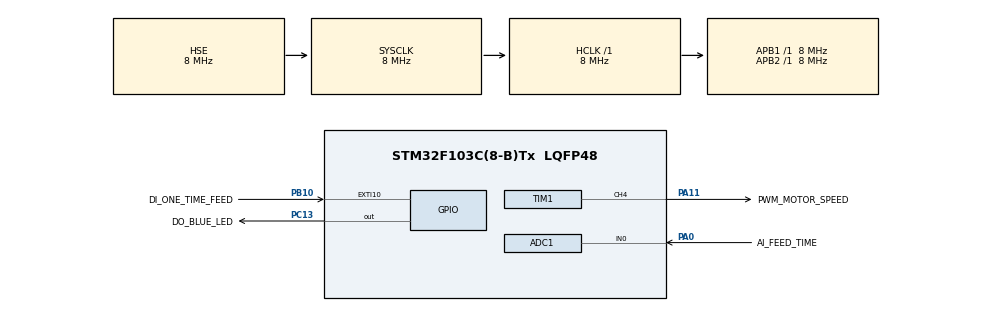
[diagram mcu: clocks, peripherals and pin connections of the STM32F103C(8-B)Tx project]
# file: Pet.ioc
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ADC1.Channel-0\#ChannelRegularConversion=ADC_CHANNEL_0
ADC1.ContinuousConvMode=ENABLE
ADC1.NbrOfConversionFlag=1
ADC1.Rank-0\#ChannelRegularConversion=1
ADC1.SamplingTime-0\#ChannelRegularConversion=ADC_SAMPLETIME_239CYCLES_5
ADC1.master=1
Dma.ADC1.0.Direction=DMA_PERIPH_TO_MEMORY
Dma.ADC1.0.Instance=DMA1_Channel1
Dma.ADC1.0.MemDataAlignment=DMA_MDATAALIGN_HALFWORD
Dma.ADC1.0.MemInc=DMA_MINC_ENABLE
Dma.ADC1.0.Mode=DMA_CIRCULAR
Dma.ADC1.0.PeriphDataAlignment=DMA_PDATAALIGN_HALFWORD
Dma.ADC1.0.PeriphInc=DMA_PINC_DISABLE
Dma.ADC1.0.Priority=DMA_PRIORITY_HIGH
Dma.Request0=ADC1
Mcu.Family=STM32F1
Mcu.Name=STM32F103C(8-B)Tx
Mcu.Package=LQFP48
NVIC.DMA1_Channel1_IRQn=true\:0\:0\:false\:false\:true\:false\:true\:true
NVIC.EXTI15_10_IRQn=true\:0\:0\:false\:false\:true\:true\:true\:true
NVIC.PriorityGroup=NVIC_PRIORITYGROUP_4
PA0-WKUP.GPIO_Label=AI_FEED_TIME
PA0-WKUP.Signal=ADCx_IN0
PA11.GPIO_Label=PWM_MOTOR_SPEED
PA11.Signal=S_TIM1_CH4
PB10.GPIO_Label=DI_ONE_TIME_FEED
PB10.GPIO_ModeDefaultEXTI=GPIO_MODE_IT_RISING
PB10.GPIO_PuPd=GPIO_PULLDOWN
PB10.Signal=GPXTI10
PC13-TAMPER-RTC.GPIO_Label=DO_BLUE_LED
PC13-TAMPER-RTC.Signal=GPIO_Output
PC14-OSC32_IN.GPIO_Label=LSE_IN
PC14-OSC32_IN.Mode=LSE-External-Clock-Source
PC14-OSC32_IN.Signal=RCC_OSC32_IN
PC15-OSC32_OUT.GPIO_Label=LSE_OUT
PC15-OSC32_OUT.Mode=LSE-External-Clock-Source
PC15-OSC32_OUT.Signal=RCC_OSC32_OUT
PD0-OSC_IN.GPIO_Label=HSE_IN
PD0-OSC_IN.Mode=HSE-External-Clock-Source
PD0-OSC_IN.Signal=RCC_OSC_IN
PD1-OSC_OUT.GPIO_Label=HSE_OUT
PD1-OSC_OUT.Mode=HSE-External-Clock-Source
PD1-OSC_OUT.Signal=RCC_OSC_OUT
ProjectManager.HeapSize=0x200
ProjectManager.StackSize=0x400
ProjectManager.TargetToolchain=STM32CubeIDE
RCC.AHBFreq_Value=8000000
RCC.APB1Freq_Value=8000000
RCC.APB1TimFreq_Value=8000000
RCC.APB2Freq_Value=8000000
RCC.APB2TimFreq_Value=8000000
RCC.HCLKFreq_Value=8000000
RCC.PLLSourceVirtual=RCC_PLLSOURCE_HSE
RCC.RTCClockSelection=RCC_RTCCLKSOURCE_LSE
RCC.SYSCLKFreq_VALUE=8000000
RCC.SYSCLKSource=RCC_SYSCLKSOURCE_HSE
RCC.USBFreq_Value=16000000
SH.ADCx_IN0.0=ADC1_IN0,IN0
SH.S_TIM1_CH4.0=TIM1_CH4,PWM Generation4 CH4
TIM1.Channel-PWM\ Generation4\ CH4=TIM_CHANNEL_4
TIM1.Period=1000
TIM1.Prescaler=7
TIM1.Pulse-PWM\ Generation4\ CH4=0
VP_RTC_VS_RTC_Activate.Mode=RTC_Enabled
VP_RTC_VS_RTC_Calendar.Mode=RTC_Calendar
VP_SYS_VS_ND.Mode=No_Debug
board=custom

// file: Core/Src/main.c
/* USER CODE BEGIN Header */
/**
  ******************************************************************************
  * @file           : main.c
  * @brief          : Main program body
  ******************************************************************************
  * @attention
  *
  * Copyright (c) 2026 STMicroelectronics.
  * All rights reserved.
  *
  * This software is licensed under terms that can be found in the LICENSE file
  * in the root directory of this software component.
  * If no LICENSE file comes with this software, it is provided AS-IS.
  *
  ******************************************************************************
  */
/* USER CODE END Header */
#include "main.h"

ADC_HandleTypeDef hadc1;
DMA_HandleTypeDef hdma_adc1;

RTC_HandleTypeDef hrtc;

TIM_HandleTypeDef htim1;

void SystemClock_Config(void);
static void MX_GPIO_Init(void);
static void MX_DMA_Init(void);
static void MX_TIM1_Init(void);
static void MX_RTC_Init(void);
static void MX_ADC1_Init(void);

/* USER CODE BEGIN 0 */

#define MAX_TURN_ON_TIME 20000L
#define MIN_TURN_ON_TIME 1000L
#define MAX_ADC_VALUE 4095
#define MIN_ADC_VALUE 0

volatile uint8_t buttonInputFlag;
volatile uint32_t adcValue = 0;

uint32_t Convert_Adc_To_Time(uint32_t adcValue)
{
	if(adcValue > MAX_ADC_VALUE)
		adcValue = MAX_ADC_VALUE;
	if(adcValue < MIN_ADC_VALUE)
		adcValue = MIN_ADC_VALUE;

	return adcValue * MAX_TURN_ON_TIME / MAX_ADC_VALUE;
}

void Set_PWM_Duty(TIM_HandleTypeDef *htim, uint32_t channel, float duty_percent)
{
    uint32_t arr = __HAL_TIM_GET_AUTORELOAD(htim);
    uint32_t ccr = (uint32_t)((arr + 1) * duty_percent / 100.0f);

    if (ccr > arr) ccr = arr;
    __HAL_TIM_SET_COMPARE(htim, channel, ccr);
}

void HAL_GPIO_EXTI_Callback(uint16_t GPIO_Pin)
{
    if (GPIO_Pin == DI_ONE_TIME_FEED_Pin)
    {
    	buttonInputFlag = 1;
    }
}

void Start_Enter_Point()
{
	Set_PWM_Duty(&htim1, TIM_CHANNEL_4, 50);
}

void Stop_Enter_Point()
{
	Set_PWM_Duty(&htim1, TIM_CHANNEL_4, 0);
}

void Start_Feed(uint32_t period_ms)
{
	if(period_ms > 100)
		period_ms = 100;
	if(period_ms < 0)
		period_ms = 0;

	Start_Enter_Point();

	HAL_Delay(period_ms);

	Stop_Enter_Point();
}
/* USER CODE END 0 */

int main(void)
{

  /* MCU Configuration--------------------------------------------------------*/

  /* Reset of all peripherals, Initializes the Flash interface and the Systick. */
  HAL_Init();

  /* Configure the system clock */
  SystemClock_Config();

  /* Initialize all configured peripherals */
  MX_GPIO_Init();
  MX_DMA_Init();
  MX_TIM1_Init();
  MX_RTC_Init();
  MX_ADC1_Init();
  /* USER CODE BEGIN 2 */

  // Read RTC
  __disable_irq();
  RTC_TimeTypeDef sTime;
  RTC_DateTypeDef sDate;

  HAL_RTC_GetTime(&hrtc, &sTime, RTC_FORMAT_BCD);
  HAL_RTC_GetDate(&hrtc, &sDate, RTC_FORMAT_BCD);
  __enable_irq();

  // Init PWM
  HAL_TIM_PWM_Start(&htim1, TIM_CHANNEL_4);

  // Init DMA
  HAL_ADC_Start_DMA(&hadc1, &adcValue, 1);

  // READ DI_ONE_TIME_FEED
  /* USER CODE END 2 */

  /* Infinite loop */
  while (1)
  {

    /* USER CODE BEGIN 3 */

	  if(buttonInputFlag == 1)
	  {
		  buttonInputFlag = 0;

		  uint32_t time = Convert_Adc_To_Time(adcValue);
		  Start_Feed(time);
	  }

	  HAL_Delay(5);

	  // start feed

  }
  /* USER CODE END 3 */
}

void SystemClock_Config(void)
{
  RCC_OscInitTypeDef RCC_OscInitStruct = {0};
  RCC_ClkInitTypeDef RCC_ClkInitStruct = {0};
  RCC_PeriphCLKInitTypeDef PeriphClkInit = {0};

  /** Initializes the RCC Oscillators according to the specified parameters
  * in the RCC_OscInitTypeDef structure.
  */
  RCC_OscInitStruct.OscillatorType = RCC_OSCILLATORTYPE_HSE|RCC_OSCILLATORTYPE_LSE;
  RCC_OscInitStruct.HSEState = RCC_HSE_BYPASS;
  RCC_OscInitStruct.LSEState = RCC_LSE_BYPASS;
  RCC_OscInitStruct.PLL.PLLState = RCC_PLL_NONE;
  if (HAL_RCC_OscConfig(&RCC_OscInitStruct) != HAL_OK)
  {
    Error_Handler();
  }

  /** Initializes the CPU, AHB and APB buses clocks
  */
  RCC_ClkInitStruct.ClockType = RCC_CLOCKTYPE_HCLK|RCC_CLOCKTYPE_SYSCLK
                              |RCC_CLOCKTYPE_PCLK1|RCC_CLOCKTYPE_PCLK2;
  RCC_ClkInitStruct.SYSCLKSource = RCC_SYSCLKSOURCE_HSE;
  RCC_ClkInitStruct.AHBCLKDivider = RCC_SYSCLK_DIV1;
  RCC_ClkInitStruct.APB1CLKDivider = RCC_HCLK_DIV1;
  RCC_ClkInitStruct.APB2CLKDivider = RCC_HCLK_DIV1;

  if (HAL_RCC_ClockConfig(&RCC_ClkInitStruct, FLASH_LATENCY_0) != HAL_OK)
  {
    Error_Handler();
  }
  PeriphClkInit.PeriphClockSelection = RCC_PERIPHCLK_RTC|RCC_PERIPHCLK_ADC;
  PeriphClkInit.RTCClockSelection = RCC_RTCCLKSOURCE_LSE;
  PeriphClkInit.AdcClockSelection = RCC_ADCPCLK2_DIV2;
  if (HAL_RCCEx_PeriphCLKConfig(&PeriphClkInit) != HAL_OK)
  {
    Error_Handler();
  }
}

static void MX_ADC1_Init(void)
{

  ADC_ChannelConfTypeDef sConfig = {0};

  /** Common config
  */
  hadc1.Instance = ADC1;
  hadc1.Init.ScanConvMode = ADC_SCAN_DISABLE;
  hadc1.Init.ContinuousConvMode = ENABLE;
  hadc1.Init.DiscontinuousConvMode = DISABLE;
  hadc1.Init.ExternalTrigConv = ADC_SOFTWARE_START;
  hadc1.Init.DataAlign = ADC_DATAALIGN_RIGHT;
  hadc1.Init.NbrOfConversion = 1;
  if (HAL_ADC_Init(&hadc1) != HAL_OK)
  {
    Error_Handler();
  }

  /** Configure Regular Channel
  */
  sConfig.Channel = ADC_CHANNEL_0;
  sConfig.Rank = ADC_REGULAR_RANK_1;
  sConfig.SamplingTime = ADC_SAMPLETIME_239CYCLES_5;
  if (HAL_ADC_ConfigChannel(&hadc1, &sConfig) != HAL_OK)
  {
    Error_Handler();
  }

}

static void MX_RTC_Init(void)
{

  RTC_TimeTypeDef sTime = {0};
  RTC_DateTypeDef DateToUpdate = {0};

  /** Initialize RTC Only
  */
  hrtc.Instance = RTC;
  hrtc.Init.AsynchPrediv = RTC_AUTO_1_SECOND;
  hrtc.Init.OutPut = RTC_OUTPUTSOURCE_ALARM;
  if (HAL_RTC_Init(&hrtc) != HAL_OK)
  {
    Error_Handler();
  }

  /** Initialize RTC and set the Time and Date
  */
  sTime.Hours = 0x0;
  sTime.Minutes = 0x0;
  sTime.Seconds = 0x0;

  if (HAL_RTC_SetTime(&hrtc, &sTime, RTC_FORMAT_BCD) != HAL_OK)
  {
    Error_Handler();
  }
  DateToUpdate.WeekDay = RTC_WEEKDAY_MONDAY;
  DateToUpdate.Month = RTC_MONTH_JANUARY;
  DateToUpdate.Date = 0x1;
  DateToUpdate.Year = 0x0;

  if (HAL_RTC_SetDate(&hrtc, &DateToUpdate, RTC_FORMAT_BCD) != HAL_OK)
  {
    Error_Handler();
  }

}

static void MX_TIM1_Init(void)
{

  TIM_MasterConfigTypeDef sMasterConfig = {0};
  TIM_OC_InitTypeDef sConfigOC = {0};
  TIM_BreakDeadTimeConfigTypeDef sBreakDeadTimeConfig = {0};

  htim1.Instance = TIM1;
  htim1.Init.Prescaler = 7;
  htim1.Init.CounterMode = TIM_COUNTERMODE_UP;
  htim1.Init.Period = 1000;
  htim1.Init.ClockDivision = TIM_CLOCKDIVISION_DIV1;
  htim1.Init.RepetitionCounter = 0;
  htim1.Init.AutoReloadPreload = TIM_AUTORELOAD_PRELOAD_DISABLE;
  if (HAL_TIM_PWM_Init(&htim1) != HAL_OK)
  {
    Error_Handler();
  }
  sMasterConfig.MasterOutputTrigger = TIM_TRGO_RESET;
  sMasterConfig.MasterSlaveMode = TIM_MASTERSLAVEMODE_DISABLE;
  if (HAL_TIMEx_MasterConfigSynchronization(&htim1, &sMasterConfig) != HAL_OK)
  {
    Error_Handler();
  }
  sConfigOC.OCMode = TIM_OCMODE_PWM1;
  sConfigOC.Pulse = 0;
  sConfigOC.OCPolarity = TIM_OCPOLARITY_HIGH;
  sConfigOC.OCFastMode = TIM_OCFAST_DISABLE;
  sConfigOC.OCIdleState = TIM_OCIDLESTATE_RESET;
  sConfigOC.OCNIdleState = TIM_OCNIDLESTATE_RESET;
  if (HAL_TIM_PWM_ConfigChannel(&htim1, &sConfigOC, TIM_CHANNEL_4) != HAL_OK)
  {
    Error_Handler();
  }
  sBreakDeadTimeConfig.OffStateRunMode = TIM_OSSR_DISABLE;
  sBreakDeadTimeConfig.OffStateIDLEMode = TIM_OSSI_DISABLE;
  sBreakDeadTimeConfig.LockLevel = TIM_LOCKLEVEL_OFF;
  sBreakDeadTimeConfig.DeadTime = 0;
  sBreakDeadTimeConfig.BreakState = TIM_BREAK_DISABLE;
  sBreakDeadTimeConfig.BreakPolarity = TIM_BREAKPOLARITY_HIGH;
  sBreakDeadTimeConfig.AutomaticOutput = TIM_AUTOMATICOUTPUT_DISABLE;
  if (HAL_TIMEx_ConfigBreakDeadTime(&htim1, &sBreakDeadTimeConfig) != HAL_OK)
  {
    Error_Handler();
  }
  HAL_TIM_MspPostInit(&htim1);

}

static void MX_DMA_Init(void)
{

  /* DMA controller clock enable */
  __HAL_RCC_DMA1_CLK_ENABLE();

  /* DMA interrupt init */
  /* DMA1_Channel1_IRQn interrupt configuration */
  HAL_NVIC_SetPriority(DMA1_Channel1_IRQn, 0, 0);
  HAL_NVIC_EnableIRQ(DMA1_Channel1_IRQn);

}

static void MX_GPIO_Init(void)
{
  GPIO_InitTypeDef GPIO_InitStruct = {0};

  /* GPIO Ports Clock Enable */
  __HAL_RCC_GPIOC_CLK_ENABLE();
  __HAL_RCC_GPIOD_CLK_ENABLE();
  __HAL_RCC_GPIOA_CLK_ENABLE();
  __HAL_RCC_GPIOB_CLK_ENABLE();

  /*Configure GPIO pin Output Level */
  HAL_GPIO_WritePin(DO_BLUE_LED_GPIO_Port, DO_BLUE_LED_Pin, GPIO_PIN_RESET);

  /*Configure GPIO pin : DO_BLUE_LED_Pin */
  GPIO_InitStruct.Pin = DO_BLUE_LED_Pin;
  GPIO_InitStruct.Mode = GPIO_MODE_OUTPUT_PP;
  GPIO_InitStruct.Pull = GPIO_NOPULL;
  GPIO_InitStruct.Speed = GPIO_SPEED_FREQ_LOW;
  HAL_GPIO_Init(DO_BLUE_LED_GPIO_Port, &GPIO_InitStruct);

  /*Configure GPIO pin : DI_ONE_TIME_FEED_Pin */
  GPIO_InitStruct.Pin = DI_ONE_TIME_FEED_Pin;
  GPIO_InitStruct.Mode = GPIO_MODE_IT_RISING;
  GPIO_InitStruct.Pull = GPIO_PULLDOWN;
  HAL_GPIO_Init(DI_ONE_TIME_FEED_GPIO_Port, &GPIO_InitStruct);

  /* EXTI interrupt init*/
  HAL_NVIC_SetPriority(EXTI15_10_IRQn, 0, 0);
  HAL_NVIC_EnableIRQ(EXTI15_10_IRQn);

}

void Error_Handler(void)
{
  __disable_irq();
  while (1)
  {
  }
}
